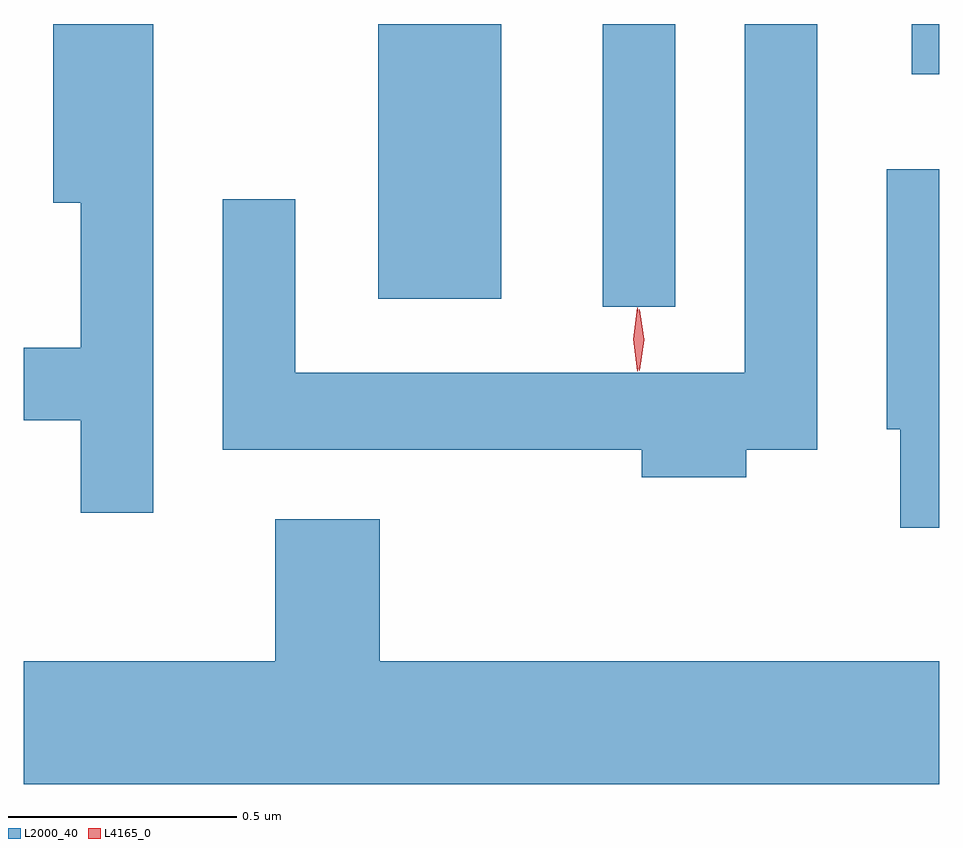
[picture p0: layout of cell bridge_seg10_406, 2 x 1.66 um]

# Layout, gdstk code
import gdstk
lib = gdstk.Library(unit=1e-6, precision=1e-09)
def R(c, l, rs):  # rectangles x0, y0, x1, y1
    for r in rs: c.add(gdstk.rectangle(r[:2], r[2:], *l))
def P(c, l, *ps):  # polygons
    for p in ps: c.add(gdstk.Polygon(p, *l))
L2000_40 = (2000, 40)
L4165_0 = (4165, 0)

bridge_seg10_406 = lib.new_cell('bridge_seg10_406')
R(bridge_seg10_406, L2000_40, [(1416.776,2112.738,1416.934,2113.356), (1416.286,2112.756,1416.554,2113.356), (1417.451,2113.246,1417.511,2113.356)])
P(bridge_seg10_406, L2000_40, [(1415.794,2113.356),(1415.576,2113.356),(1415.576,2112.966),(1415.636,2112.966),(1415.636,2112.649),(1415.511,2112.649),(1415.511,2112.491),(1415.636,2112.491),(1415.636,2112.288),(1415.794,2112.288)],
  [(1417.089,2112.426),(1417.244,2112.426),(1417.244,2113.356),(1417.086,2113.356),(1417.086,2112.594),(1416.104,2112.594),(1416.104,2112.973),(1415.946,2112.973),(1415.946,2112.426),(1416.861,2112.426),(1416.861,2112.366),(1417.089,2112.366)],
  [(1417.511,2113.039),(1417.396,2113.039),(1417.396,2112.471),(1417.426,2112.471),(1417.426,2112.256),(1417.511,2112.256)],
  [(1417.511,2111.964),(1416.289,2111.964),(1416.289,2112.274),(1416.061,2112.274),(1416.061,2111.964),(1415.511,2111.964),(1415.511,2111.696),(1417.511,2111.696)])
P(bridge_seg10_406, L4165_0, [(1416.851,2112.597),(1416.842,2112.667),(1416.851,2112.736),(1416.852,2112.736),(1416.852,2112.736),(1416.862,2112.667),(1416.852,2112.597),(1416.852,2112.597)],
  [(1416.856,2112.599),(1416.856,2112.6),(1416.846,2112.666),(1416.856,2112.732),(1416.856,2112.733),(1416.857,2112.732),(1416.866,2112.666),(1416.857,2112.6)])

lib.write_gds('bridge_seg10_406.gds')
